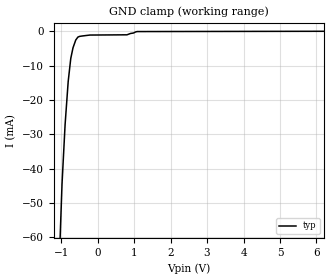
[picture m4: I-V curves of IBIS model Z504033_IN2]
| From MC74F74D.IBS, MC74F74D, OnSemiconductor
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| (C) COPYRIGHT 1993-2000
| MENTOR GRAPHICS CORPORATION
| ICX STANDARD LIBRARY, ICX PROJECT MODELING,
| ICX CUSTOM MODELING, ICX VENDOR MODEL
| ALL RIGHTS RESERVED.
| THE FOLLOWING ARE TRADEMARKS OR SERVICE MARKS OF
| MENTOR GRAPHICS CORPORATION:ICX (R), ICX STANDARD
| LIBRARY(R), ICX PROJECT MODELING(R), ICX CUSTOM
| MODELING(R), qualityIBIS(TM), MODELVIEWER(TM),
| AND MODELEDITOR(TM)
| ALL COPIES OF SOFTWARE, INCLUDING BUT NOT LIMITED TO
| ANY MODIFICATIONS, ENHANCEMENTS OR DERIVATIVE WORKS,
| MUST CONTAIN ALL MENTOR GRAPHICS CORPORATION'S
| NOTICES AND LEGENDS, INCLUDING THOSE EMBEDDED IN
| SOFTWARE AND THOSE AFFIXED TO SOFTWARE MEDIUM
| AND CONTAINER, AS RECEIVED FROM MENTOR GRAPHICS
| CORPORATION.
| Model Application Version 1.89 2/18/99.
[Model] Z504033_IN2
Model_type Input
Vinl = 800.0mV
Vinh = 2.000V
C_comp 4.000pF NA NA
| variable typ   min   max
[Voltage Range] 5.000V NA NA
[GND Clamp Reference] 0.000V NA NA
[POWER Clamp Reference] 5.000V NA NA
[GND Clamp]
-5V       -1.7A      NA         NA
-1.127V   -90.28mA   NA         NA
-975.4mV  -44.54mA   NA         NA
-890.9mV  -27.15mA   NA         NA
-806mV    -14.58mA   NA         NA
-735.7mV  -7.892mA   NA         NA
-673.9mV  -4.76mA    NA         NA
-599.2mV  -2.515mA   NA         NA
-497.1mV  -1.454mA   NA         NA
805.8mV   -983.2uA   NA         NA
1.086V    -35.8uA    NA         NA
10V       107.6uA    NA         NA
[POWER Clamp]
-5V       0A         NA         NA
10V       0A         NA         NA
